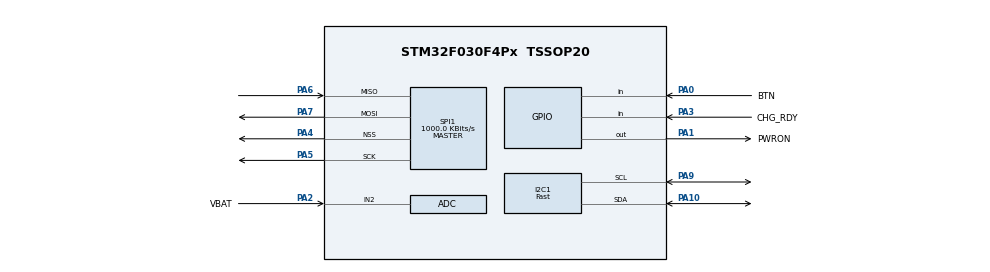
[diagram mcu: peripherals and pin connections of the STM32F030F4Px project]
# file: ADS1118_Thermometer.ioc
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ADC.ClockPrescaler=ADC_CLOCK_SYNC_PCLK_DIV2
ADC.DMAContinuousRequests=ENABLE
ADC.ExternalTrigConv=ADC_EXTERNALTRIGCONV_T1_TRGO
ADC.SamplingTime=ADC_SAMPLETIME_71CYCLES_5
Dma.ADC.0.Direction=DMA_PERIPH_TO_MEMORY
Dma.ADC.0.Instance=DMA1_Channel1
Dma.ADC.0.MemDataAlignment=DMA_MDATAALIGN_HALFWORD
Dma.ADC.0.MemInc=DMA_MINC_ENABLE
Dma.ADC.0.Mode=DMA_CIRCULAR
Dma.ADC.0.PeriphDataAlignment=DMA_PDATAALIGN_HALFWORD
Dma.ADC.0.PeriphInc=DMA_PINC_DISABLE
Dma.ADC.0.Priority=DMA_PRIORITY_LOW
Dma.Request0=ADC
I2C1.I2C_Speed_Mode=I2C_Fast
I2C1.Timing=0x0000020B
Mcu.Family=STM32F0
Mcu.Name=STM32F030F4Px
Mcu.Package=TSSOP20
NVIC.DMA1_Channel1_IRQn=true\:0\:0\:false\:false\:true\:false\:true
NVIC.SPI1_IRQn=true\:0\:0\:false\:false\:true\:true\:true
NVIC.TIM14_IRQn=true\:0\:0\:false\:false\:true\:true\:true
PA0.GPIO_Label=BTN
PA0.Signal=GPIO_Input
PA1.GPIO_Label=PWRON
PA1.Signal=GPIO_Output
PA10.Mode=I2C
PA10.Signal=I2C1_SDA
PA13.Mode=Serial_Wire
PA13.Signal=SYS_SWDIO
PA14.Mode=Serial_Wire
PA14.Signal=SYS_SWCLK
PA2.GPIO_Label=VBAT
PA2.Mode=IN2
PA2.Signal=ADC_IN2
PA3.GPIO_Label=CHG_RDY
PA3.Signal=GPIO_Input
PA4.Mode=NSS_Signal_Hard_Output
PA4.Signal=SPI1_NSS
PA5.Mode=Full_Duplex_Master
PA5.Signal=SPI1_SCK
PA6.Mode=Full_Duplex_Master
PA6.Signal=SPI1_MISO
PA7.Mode=Full_Duplex_Master
PA7.Signal=SPI1_MOSI
PA9.Mode=I2C
PA9.Signal=I2C1_SCL
PF0-OSC_IN.Mode=HSE-External-Clock-Source
PF0-OSC_IN.Signal=RCC_OSC_IN
ProjectManager.HeapSize=0x200
ProjectManager.StackSize=0x400
ProjectManager.TargetToolchain=STM32CubeIDE
RCC.SYSCLKSource=RCC_SYSCLKSOURCE_HSE
SPI1.BaudRatePrescaler=SPI_BAUDRATEPRESCALER_8
SPI1.CLKPhase=SPI_PHASE_2EDGE
SPI1.CalculateBaudRate=1000.0 KBits/s
SPI1.DataSize=SPI_DATASIZE_8BIT
SPI1.Direction=SPI_DIRECTION_2LINES
SPI1.Mode=SPI_MODE_MASTER
SPI1.VirtualNSS=VM_NSSHARD
SPI1.VirtualType=VM_MASTER
TIM1.AutoReloadPreload=TIM_AUTORELOAD_PRELOAD_ENABLE
TIM1.Period=99
TIM1.Prescaler=79
TIM1.TIM_MasterOutputTrigger=TIM_TRGO_UPDATE
TIM14.Period=99
TIM14.Prescaler=799
VP_TIM14_VS_ClockSourceINT.Mode=Enable_Timer
VP_TIM1_VS_ClockSourceINT.Mode=Internal
board=custom

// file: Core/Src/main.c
/* USER CODE BEGIN Header */
/**
  ******************************************************************************
  * @file           : main.c
  * @brief          : Main program body
  ******************************************************************************
  * @attention
  *
  * Copyright (c) 2025 STMicroelectronics.
  * All rights reserved.
  *
  * This software is licensed under terms that can be found in the LICENSE file
  * in the root directory of this software component.
  * If no LICENSE file comes with this software, it is provided AS-IS.
  *
  ******************************************************************************
  */
/* USER CODE END Header */
#include "main.h"

/* USER CODE BEGIN Includes */
#include "ssd1315.h"
#include "display_primitives.h"
#include "display_windows.h"
#include "device.h"
#include "ads1118.h"
/* USER CODE END Includes */

/* USER CODE BEGIN PTD */
#define VBAT_BUF_LEN			100
/* USER CODE END PTD */

/* USER CODE BEGIN PV */
volatile uint8_t is_timer_updated = 0;
volatile uint8_t is_adc_conv_cplt = 0;
uint16_t vbat_raw_data[VBAT_BUF_LEN] = {0};
ButtonState btn_state = NotPressed;

extern Data dev_state;
/* USER CODE END PV */

void SystemClock_Config(void);
static void MX_GPIO_Init(void);
static void MX_DMA_Init(void);
static void MX_ADC_Init(void);
static void MX_I2C1_Init(void);
static void MX_SPI1_Init(void);
static void MX_TIM1_Init(void);
static void MX_TIM14_Init(void);
/* USER CODE BEGIN PFP */
static void PowerOff(void);
/* USER CODE END PFP */

int main(void)
{

  /* MCU Configuration--------------------------------------------------------*/

  /* Reset of all peripherals, Initializes the Flash interface and the Systick. */

  LL_APB1_GRP2_EnableClock(LL_APB1_GRP2_PERIPH_SYSCFG);
  LL_APB1_GRP1_EnableClock(LL_APB1_GRP1_PERIPH_PWR);

  /* System interrupt init*/
  /* SysTick_IRQn interrupt configuration */
  NVIC_SetPriority(SysTick_IRQn, 3);

  /* Configure the system clock */
  SystemClock_Config();

  /* Initialize all configured peripherals */
  MX_GPIO_Init();
  MX_DMA_Init();
  MX_ADC_Init();
  MX_I2C1_Init();
  MX_SPI1_Init();
  MX_TIM1_Init();
  MX_TIM14_Init();
  /* USER CODE BEGIN 2 */

  // power on delay
  LL_mDelay(100);

  // power on
  DEV_PowerCtrl(1);

  // start timers
  LL_TIM_EnableCounter(TIM1);		// ADC conversion trigger
  LL_TIM_EnableIT_UPDATE(TIM14);
  LL_TIM_EnableCounter(TIM14);	// scanning

  // start ADC conversion
  LL_ADC_Enable(ADC1);
  LL_DMA_EnableChannel(DMA1, LL_DMA_CHANNEL_1);
  LL_ADC_REG_StartConversion(ADC1);

  // init OLED
  SSD1315_Init();
  WindowsInit();

  // init ADS1118 ADC and start first conversion
  ADS1118_Init();
  /* USER CODE END 2 */

  /* Infinite loop */
  while (1)
  {

    /* USER CODE BEGIN 3 */
	  // check scan timer event
	  if(is_timer_updated)
	  {
		  is_timer_updated = 0;	// reset flag

		  // scan button
		  if(DEV_ScanBtn(&btn_state))
		  {
			  switch(btn_state)
			  {
				  case NotPressed:
				  default:
					  break;

				  case Pressed:
					  break;

				  case LongPressed:
					  // make power off
					  PowerOff();
					  break;
			  }
		  }

		  // get data from ADS1118
		  ADS1118_ReadData(&dev_state);

		  // update display
		  RefreshWindow();
	  }

	  // check ADC conversion complete event
	  if(is_adc_conv_cplt)
	  {
		  is_adc_conv_cplt = 0;	// reset flag

		  // average samples data
		  for(uint16_t i = 0; i < VBAT_BUF_LEN; i++)
		  {
			  dev_state.vbat_mv += vbat_raw_data[i];
		  }
		  // get battery voltage in mV
		  dev_state.vbat_mv = 2*dev_state.vbat_mv*3360/(VBAT_BUF_LEN*4096);

		  // check battery low
		  if(dev_state.vbat_mv < VBAT_LOW_MV)
		  {
			  // make power off
			  PowerOff();
		  }
	  }
  }
  /* USER CODE END 3 */
}

void SystemClock_Config(void)
{
  LL_FLASH_SetLatency(LL_FLASH_LATENCY_0);
  while(LL_FLASH_GetLatency() != LL_FLASH_LATENCY_0)
  {
  }
  LL_RCC_HSE_EnableBypass();
  LL_RCC_HSE_Enable();

   /* Wait till HSE is ready */
  while(LL_RCC_HSE_IsReady() != 1)
  {

  }
  LL_RCC_HSI_Enable();

   /* Wait till HSI is ready */
  while(LL_RCC_HSI_IsReady() != 1)
  {

  }
  LL_RCC_HSI_SetCalibTrimming(16);
  LL_RCC_SetAHBPrescaler(LL_RCC_SYSCLK_DIV_1);
  LL_RCC_SetAPB1Prescaler(LL_RCC_APB1_DIV_1);
  LL_RCC_SetSysClkSource(LL_RCC_SYS_CLKSOURCE_HSE);

   /* Wait till System clock is ready */
  while(LL_RCC_GetSysClkSource() != LL_RCC_SYS_CLKSOURCE_STATUS_HSE)
  {

  }
  LL_Init1msTick(8000000);
  LL_SetSystemCoreClock(8000000);
  LL_RCC_SetI2CClockSource(LL_RCC_I2C1_CLKSOURCE_HSI);
}

static void MX_ADC_Init(void)
{

  LL_ADC_InitTypeDef ADC_InitStruct = {0};
  LL_ADC_REG_InitTypeDef ADC_REG_InitStruct = {0};

  LL_GPIO_InitTypeDef GPIO_InitStruct = {0};

  /* Peripheral clock enable */
  LL_APB1_GRP2_EnableClock(LL_APB1_GRP2_PERIPH_ADC1);

  LL_AHB1_GRP1_EnableClock(LL_AHB1_GRP1_PERIPH_GPIOA);
  /**ADC GPIO Configuration
  PA2   ------> ADC_IN2
  */
  GPIO_InitStruct.Pin = VBAT_Pin;
  GPIO_InitStruct.Mode = LL_GPIO_MODE_ANALOG;
  GPIO_InitStruct.Pull = LL_GPIO_PULL_NO;
  LL_GPIO_Init(VBAT_GPIO_Port, &GPIO_InitStruct);

  /* ADC DMA Init */

  /* ADC Init */
  LL_DMA_SetDataTransferDirection(DMA1, LL_DMA_CHANNEL_1, LL_DMA_DIRECTION_PERIPH_TO_MEMORY);

  LL_DMA_SetChannelPriorityLevel(DMA1, LL_DMA_CHANNEL_1, LL_DMA_PRIORITY_LOW);

  LL_DMA_SetMode(DMA1, LL_DMA_CHANNEL_1, LL_DMA_MODE_CIRCULAR);

  LL_DMA_SetPeriphIncMode(DMA1, LL_DMA_CHANNEL_1, LL_DMA_PERIPH_NOINCREMENT);

  LL_DMA_SetMemoryIncMode(DMA1, LL_DMA_CHANNEL_1, LL_DMA_MEMORY_INCREMENT);

  LL_DMA_SetPeriphSize(DMA1, LL_DMA_CHANNEL_1, LL_DMA_PDATAALIGN_HALFWORD);

  LL_DMA_SetMemorySize(DMA1, LL_DMA_CHANNEL_1, LL_DMA_MDATAALIGN_HALFWORD);

  /* USER CODE BEGIN ADC_Init 1 */
  /* Set DMA transfer addresses of source and destination */
  LL_DMA_ConfigAddresses(DMA1,
                         LL_DMA_CHANNEL_1,
                         LL_ADC_DMA_GetRegAddr(ADC1, LL_ADC_DMA_REG_REGULAR_DATA),
                         (uint32_t)&vbat_raw_data,
                         LL_DMA_DIRECTION_PERIPH_TO_MEMORY);

  /* Set DMA transfer size */
  LL_DMA_SetDataLength(DMA1, LL_DMA_CHANNEL_1, VBAT_BUF_LEN);
  /* Enable DMA transfer interruption: transfer complete */
  LL_DMA_EnableIT_TC(DMA1, LL_DMA_CHANNEL_1);
  /* USER CODE END ADC_Init 1 */
  /** Configure Regular Channel
  */
  LL_ADC_REG_SetSequencerChAdd(ADC1, LL_ADC_CHANNEL_2);
  /** Configure the global features of the ADC (Clock, Resolution, Data Alignment and number of conversion)
  */
  ADC_InitStruct.Clock = LL_ADC_CLOCK_SYNC_PCLK_DIV2;
  ADC_InitStruct.Resolution = LL_ADC_RESOLUTION_12B;
  ADC_InitStruct.DataAlignment = LL_ADC_DATA_ALIGN_RIGHT;
  ADC_InitStruct.LowPowerMode = LL_ADC_LP_MODE_NONE;
  LL_ADC_Init(ADC1, &ADC_InitStruct);
  ADC_REG_InitStruct.TriggerSource = LL_ADC_REG_TRIG_EXT_TIM1_TRGO;
  ADC_REG_InitStruct.SequencerDiscont = LL_ADC_REG_SEQ_DISCONT_DISABLE;
  ADC_REG_InitStruct.ContinuousMode = LL_ADC_REG_CONV_SINGLE;
  ADC_REG_InitStruct.DMATransfer = LL_ADC_REG_DMA_TRANSFER_UNLIMITED;
  ADC_REG_InitStruct.Overrun = LL_ADC_REG_OVR_DATA_PRESERVED;
  LL_ADC_REG_Init(ADC1, &ADC_REG_InitStruct);
  LL_ADC_REG_SetSequencerScanDirection(ADC1, LL_ADC_REG_SEQ_SCAN_DIR_FORWARD);
  LL_ADC_SetSamplingTimeCommonChannels(ADC1, LL_ADC_SAMPLINGTIME_71CYCLES_5);
  LL_ADC_REG_SetTriggerEdge(ADC1, LL_ADC_REG_TRIG_EXT_RISING);

}

static void MX_I2C1_Init(void)
{

  LL_I2C_InitTypeDef I2C_InitStruct = {0};

  LL_GPIO_InitTypeDef GPIO_InitStruct = {0};

  LL_AHB1_GRP1_EnableClock(LL_AHB1_GRP1_PERIPH_GPIOA);
  /**I2C1 GPIO Configuration
  PA9   ------> I2C1_SCL
  PA10   ------> I2C1_SDA
  */
  GPIO_InitStruct.Pin = LL_GPIO_PIN_9;
  GPIO_InitStruct.Mode = LL_GPIO_MODE_ALTERNATE;
  GPIO_InitStruct.Speed = LL_GPIO_SPEED_FREQ_HIGH;
  GPIO_InitStruct.OutputType = LL_GPIO_OUTPUT_OPENDRAIN;
  GPIO_InitStruct.Pull = LL_GPIO_PULL_NO;
  GPIO_InitStruct.Alternate = LL_GPIO_AF_4;
  LL_GPIO_Init(GPIOA, &GPIO_InitStruct);

  GPIO_InitStruct.Pin = LL_GPIO_PIN_10;
  GPIO_InitStruct.Mode = LL_GPIO_MODE_ALTERNATE;
  GPIO_InitStruct.Speed = LL_GPIO_SPEED_FREQ_HIGH;
  GPIO_InitStruct.OutputType = LL_GPIO_OUTPUT_OPENDRAIN;
  GPIO_InitStruct.Pull = LL_GPIO_PULL_NO;
  GPIO_InitStruct.Alternate = LL_GPIO_AF_4;
  LL_GPIO_Init(GPIOA, &GPIO_InitStruct);

  /* Peripheral clock enable */
  LL_APB1_GRP1_EnableClock(LL_APB1_GRP1_PERIPH_I2C1);

  /** I2C Initialization
  */
  LL_I2C_DisableOwnAddress2(I2C1);
  LL_I2C_DisableGeneralCall(I2C1);
  LL_I2C_EnableClockStretching(I2C1);
  I2C_InitStruct.PeripheralMode = LL_I2C_MODE_I2C;
  I2C_InitStruct.Timing = 0x0000020B;
  I2C_InitStruct.AnalogFilter = LL_I2C_ANALOGFILTER_ENABLE;
  I2C_InitStruct.DigitalFilter = 0;
  I2C_InitStruct.OwnAddress1 = 0;
  I2C_InitStruct.TypeAcknowledge = LL_I2C_ACK;
  I2C_InitStruct.OwnAddrSize = LL_I2C_OWNADDRESS1_7BIT;
  LL_I2C_Init(I2C1, &I2C_InitStruct);
  LL_I2C_EnableAutoEndMode(I2C1);
  LL_I2C_SetOwnAddress2(I2C1, 0, LL_I2C_OWNADDRESS2_NOMASK);
  /* USER CODE BEGIN I2C1_Init 2 */
  LL_I2C_Enable(I2C1);
  /* USER CODE END I2C1_Init 2 */

}

static void MX_SPI1_Init(void)
{

  LL_SPI_InitTypeDef SPI_InitStruct = {0};

  LL_GPIO_InitTypeDef GPIO_InitStruct = {0};

  /* Peripheral clock enable */
  LL_APB1_GRP2_EnableClock(LL_APB1_GRP2_PERIPH_SPI1);

  LL_AHB1_GRP1_EnableClock(LL_AHB1_GRP1_PERIPH_GPIOA);
  /**SPI1 GPIO Configuration
  PA4   ------> SPI1_NSS
  PA5   ------> SPI1_SCK
  PA6   ------> SPI1_MISO
  PA7   ------> SPI1_MOSI
  */
  GPIO_InitStruct.Pin = LL_GPIO_PIN_4;
  GPIO_InitStruct.Mode = LL_GPIO_MODE_OUTPUT;
  GPIO_InitStruct.Speed = LL_GPIO_SPEED_FREQ_LOW;
  GPIO_InitStruct.OutputType = LL_GPIO_OUTPUT_PUSHPULL;
  GPIO_InitStruct.Pull = LL_GPIO_PULL_NO;
//  GPIO_InitStruct.Alternate = LL_GPIO_AF_0;
  LL_GPIO_Init(GPIOA, &GPIO_InitStruct);

  GPIO_InitStruct.Pin = LL_GPIO_PIN_5;
  GPIO_InitStruct.Mode = LL_GPIO_MODE_ALTERNATE;
  GPIO_InitStruct.Speed = LL_GPIO_SPEED_FREQ_HIGH;
  GPIO_InitStruct.OutputType = LL_GPIO_OUTPUT_PUSHPULL;
  GPIO_InitStruct.Pull = LL_GPIO_PULL_UP;
  GPIO_InitStruct.Alternate = LL_GPIO_AF_0;
  LL_GPIO_Init(GPIOA, &GPIO_InitStruct);

  GPIO_InitStruct.Pin = LL_GPIO_PIN_6;
  GPIO_InitStruct.Mode = LL_GPIO_MODE_ALTERNATE;
  GPIO_InitStruct.Speed = LL_GPIO_SPEED_FREQ_HIGH;
  GPIO_InitStruct.OutputType = LL_GPIO_OUTPUT_PUSHPULL;
  GPIO_InitStruct.Pull = LL_GPIO_PULL_UP;
  GPIO_InitStruct.Alternate = LL_GPIO_AF_0;
  LL_GPIO_Init(GPIOA, &GPIO_InitStruct);

  GPIO_InitStruct.Pin = LL_GPIO_PIN_7;
  GPIO_InitStruct.Mode = LL_GPIO_MODE_ALTERNATE;
  GPIO_InitStruct.Speed = LL_GPIO_SPEED_FREQ_HIGH;
  GPIO_InitStruct.OutputType = LL_GPIO_OUTPUT_PUSHPULL;
  GPIO_InitStruct.Pull = LL_GPIO_PULL_UP;
  GPIO_InitStruct.Alternate = LL_GPIO_AF_0;
  LL_GPIO_Init(GPIOA, &GPIO_InitStruct);

  /* SPI1 parameter configuration*/
  SPI_InitStruct.TransferDirection = LL_SPI_FULL_DUPLEX;
  SPI_InitStruct.Mode = LL_SPI_MODE_MASTER;
  SPI_InitStruct.DataWidth = LL_SPI_DATAWIDTH_8BIT;
  SPI_InitStruct.ClockPolarity = LL_SPI_POLARITY_LOW;
  SPI_InitStruct.ClockPhase = LL_SPI_PHASE_2EDGE;
  SPI_InitStruct.NSS = LL_SPI_NSS_SOFT;
  SPI_InitStruct.BaudRate = LL_SPI_BAUDRATEPRESCALER_DIV64;
  SPI_InitStruct.BitOrder = LL_SPI_MSB_FIRST;
  SPI_InitStruct.CRCCalculation = LL_SPI_CRCCALCULATION_DISABLE;
  SPI_InitStruct.CRCPoly = 7;
  LL_SPI_Init(SPI1, &SPI_InitStruct);
  LL_SPI_SetStandard(SPI1, LL_SPI_PROTOCOL_MOTOROLA);
  LL_SPI_DisableNSSPulseMgt(SPI1);
  /* USER CODE BEGIN SPI1_Init 2 */
  /* Enable SPI1 */
  LL_GPIO_SetOutputPin(GPIOA, LL_GPIO_PIN_4); // set CS to high
  LL_SPI_Enable(SPI1);
  /* USER CODE END SPI1_Init 2 */

}

static void MX_TIM1_Init(void)
{

  LL_TIM_InitTypeDef TIM_InitStruct = {0};

  /* Peripheral clock enable */
  LL_APB1_GRP2_EnableClock(LL_APB1_GRP2_PERIPH_TIM1);

  TIM_InitStruct.Prescaler = 79;
  TIM_InitStruct.CounterMode = LL_TIM_COUNTERMODE_UP;
  TIM_InitStruct.Autoreload = 99;
  TIM_InitStruct.ClockDivision = LL_TIM_CLOCKDIVISION_DIV1;
  TIM_InitStruct.RepetitionCounter = 0;
  LL_TIM_Init(TIM1, &TIM_InitStruct);
  LL_TIM_EnableARRPreload(TIM1);
  LL_TIM_SetClockSource(TIM1, LL_TIM_CLOCKSOURCE_INTERNAL);
  LL_TIM_SetTriggerOutput(TIM1, LL_TIM_TRGO_UPDATE);
  LL_TIM_DisableMasterSlaveMode(TIM1);

}

static void MX_TIM14_Init(void)
{

  LL_TIM_InitTypeDef TIM_InitStruct = {0};

  /* Peripheral clock enable */
  LL_APB1_GRP1_EnableClock(LL_APB1_GRP1_PERIPH_TIM14);

  /* TIM14 interrupt Init */
  NVIC_SetPriority(TIM14_IRQn, 0);
  NVIC_EnableIRQ(TIM14_IRQn);

  TIM_InitStruct.Prescaler = 7999;
  TIM_InitStruct.CounterMode = LL_TIM_COUNTERMODE_UP;
  TIM_InitStruct.Autoreload = SCAN_PERIOD_MS-1;
  TIM_InitStruct.ClockDivision = LL_TIM_CLOCKDIVISION_DIV1;
  LL_TIM_Init(TIM14, &TIM_InitStruct);
  LL_TIM_DisableARRPreload(TIM14);

}

static void MX_DMA_Init(void)
{

  /* Init with LL driver */
  /* DMA controller clock enable */
  LL_AHB1_GRP1_EnableClock(LL_AHB1_GRP1_PERIPH_DMA1);

  /* DMA interrupt init */
  /* DMA1_Channel1_IRQn interrupt configuration */
  NVIC_SetPriority(DMA1_Channel1_IRQn, 0);
  NVIC_EnableIRQ(DMA1_Channel1_IRQn);

}

static void MX_GPIO_Init(void)
{
  LL_GPIO_InitTypeDef GPIO_InitStruct = {0};

  /* GPIO Ports Clock Enable */
  LL_AHB1_GRP1_EnableClock(LL_AHB1_GRP1_PERIPH_GPIOF);
  LL_AHB1_GRP1_EnableClock(LL_AHB1_GRP1_PERIPH_GPIOA);

  /**/
  LL_GPIO_ResetOutputPin(PWRON_GPIO_Port, PWRON_Pin);

  /**/
  GPIO_InitStruct.Pin = BTN_Pin;
  GPIO_InitStruct.Mode = LL_GPIO_MODE_INPUT;
  GPIO_InitStruct.Pull = LL_GPIO_PULL_NO;
  LL_GPIO_Init(BTN_GPIO_Port, &GPIO_InitStruct);

  /**/
  GPIO_InitStruct.Pin = PWRON_Pin;
  GPIO_InitStruct.Mode = LL_GPIO_MODE_OUTPUT;
  GPIO_InitStruct.Speed = LL_GPIO_SPEED_FREQ_LOW;
  GPIO_InitStruct.OutputType = LL_GPIO_OUTPUT_PUSHPULL;
  GPIO_InitStruct.Pull = LL_GPIO_PULL_NO;
  LL_GPIO_Init(PWRON_GPIO_Port, &GPIO_InitStruct);

  /**/
  GPIO_InitStruct.Pin = CHG_RDY_Pin;
  GPIO_InitStruct.Mode = LL_GPIO_MODE_INPUT;
  GPIO_InitStruct.Pull = LL_GPIO_PULL_NO;
  LL_GPIO_Init(CHG_RDY_GPIO_Port, &GPIO_InitStruct);

}

/* USER CODE BEGIN 4 */
void HAL_TIM_PeriodElapsedCallback()
{
	is_timer_updated = 1;
}

/**
  * @brief  Conversion complete callback in non blocking mode
  * @param  None
  * @retval None
  */
void AdcDmaTransferComplete_Callback()
{
	is_adc_conv_cplt = 1;
}

/**
  * @brief  Power off procedure
  * @param  None
  * @retval None
  */
static void PowerOff(void)
{
	DP_ClearBuffer();
	DP_UpdateBuffer();
	SSD1315_DisplayOnOff(0);
	DEV_PowerCtrl(0);
	LL_PWR_SetPowerMode(LL_PWR_MODE_STANDBY);
	while(1)
	{

	}
}
/* USER CODE END 4 */

void Error_Handler(void)
{
  __disable_irq();
  while (1)
  {
  }
}
